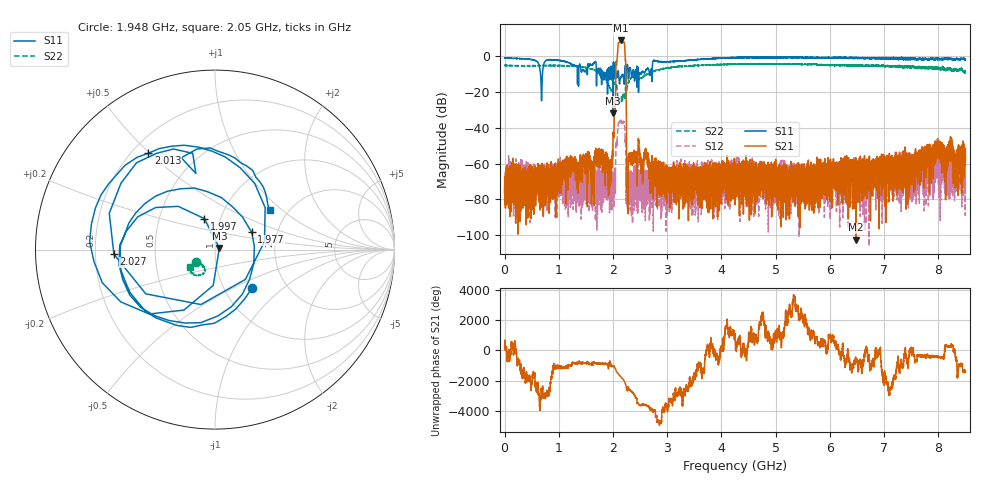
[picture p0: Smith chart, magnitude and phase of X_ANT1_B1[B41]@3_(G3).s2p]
#  HZ  S  RI  R  50.00
! Rohde & Schwarz Vector Network Analyzer
! Rohde-Schwarz,ZNBT8-20Port,1318700624101681,3.50
! Created: UTC 7/15/2025, 2:11:02 PM
! freq[Hz]  re:S1010  im:S1010  re:S0310  im:S0310  re:S1003  im:S1003  re:S33  im:S33
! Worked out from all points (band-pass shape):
!   8500 points, 1 MHz to 8.5 GHz, reference 50 ohm
!   highest |S21| = 8.98 dB at 2.144 GHz (marker M1); lowest = -102.7 dB at 6.483 GHz (marker M2)
!   |S21| within 3 dB of the highest: 2.094 GHz to 2.215 GHz (121.9 MHz wide, 5.66 % of centre)
!   lowest |S11| = -31.7 dB at 1.998 GHz (marker M3), VSWR 1.05, Z = 52.5 + j0.895 ohm
!   |S11| at or under -10 dB: 663.7 MHz to 698.6 MHz (34.89 MHz wide, 5.12 % of centre); 2.06 GHz to 2.085 GHz (24.64 MHz wide, 1.19 % of centre); 2.105 GHz to 2.213 GHz (108.1 MHz wide, 5.01 % of centre)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
!   |S22| runs from -26.0 to -3.9 dB; largest |S21 - S12| = 2.8
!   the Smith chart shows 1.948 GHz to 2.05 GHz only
!   S11 on the Smith chart (normalised r, x): 1.948 GHz: 1.35, -0.63; 1.977 GHz: 1.48, +0.30; 1.997 GHz: 0.84, +0.30; 2.013 GHz: 0.26, +0.49; 2.027 GHz: 0.28, -0.02; 2.05 GHz: 1.62, +0.83
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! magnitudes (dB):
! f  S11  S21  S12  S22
! 1 MHz  -0.9  -76.4  -73.7  -4.9
! 1.418 GHz  -8.5  -64.6  -66.7  -5.8
! 1.705 GHz  -6.8  -52.0  -64.8  -8.4
! 1.948 GHz  -10.5  -57.8  -85.6  -17.8
! 1.977 GHz  -12.9  -57.6  -80.9  -18.8
! 1.997 GHz  -14.8  -51.9  -68.5  -17.8
! 1.998 GHz  -31.7  -49.0  -68.9  -17.6
! 2.013 GHz  -3.7  -44.3  -70.1  -15.9
! 2.027 GHz  -5.0  -28.3  -71.3  -15.1
! 2.05 GHz  -8.5  -15.0  -57.8  -15.4
! 2.093 GHz  -8.1  5.8  -39.0  -24.1
! 2.144 GHz  -11.7  9.0  -35.9  -23.6
! 2.205 GHz  -15.0  7.8  -36.8  -21.8
! 2.293 GHz  -10.3  -56.0  -70.7  -14.1
! 2.609 GHz  -7.8  -54.8  -71.6  -10.2
! 2.834 GHz  -2.7  -65.7  -67.0  -7.5
! 4.251 GHz  -0.6  -60.0  -65.6  -4.2
! 5.667 GHz  -0.4  -67.7  -65.5  -4.4
! 6.483 GHz  -0.6  -102.7  -58.7  -5.2
! 7.084 GHz  -0.9  -63.0  -70.6  -5.2
! 7.993 GHz  -1.3  -54.1  -59.2  -6.9
! 8.5 GHz  -1.8  -53.5  -76.0  -8.1
